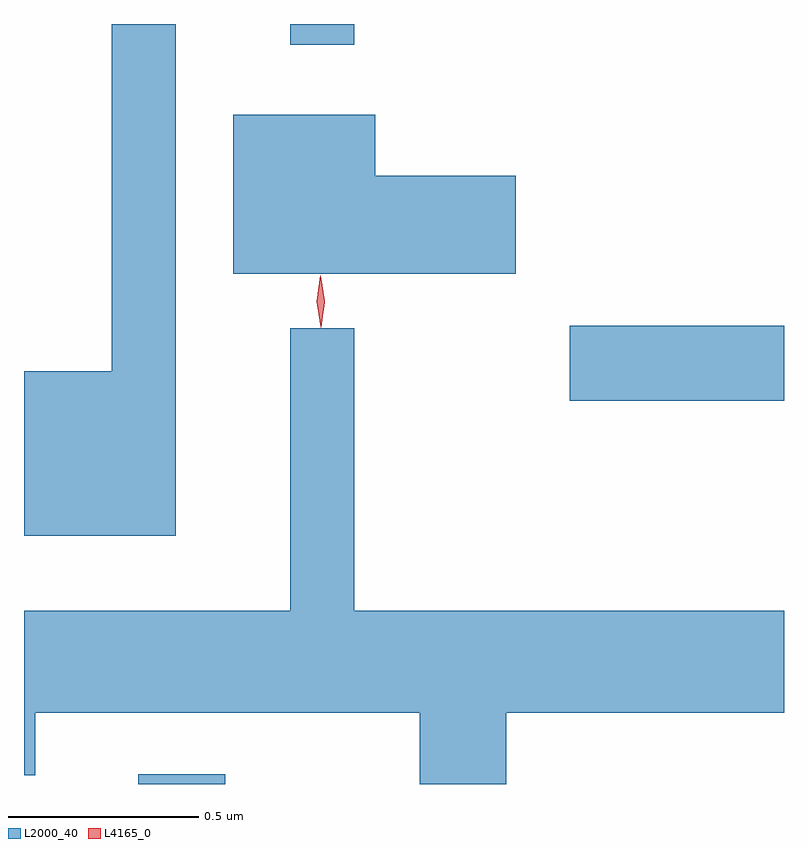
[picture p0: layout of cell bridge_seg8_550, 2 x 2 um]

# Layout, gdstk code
import gdstk
lib = gdstk.Library(unit=1e-6, precision=1e-09)
def R(c, l, rs):  # rectangles x0, y0, x1, y1
    for r in rs: c.add(gdstk.rectangle(r[:2], r[2:], *l))
def P(c, l, *ps):  # polygons
    for p in ps: c.add(gdstk.Polygon(p, *l))
L2000_40 = (2000, 40)
L4165_0 = (4165, 0)

bridge_seg8_550 = lib.new_cell('bridge_seg8_550')
R(bridge_seg8_550, L2000_40, [(563.041,1869.528,563.269,1869.554), (564.176,1870.536,564.74,1870.734), (563.441,1871.473,563.609,1871.528)])
P(bridge_seg8_550, L2000_40, [(563.139,1871.528),(562.971,1871.528),(562.971,1870.614),(562.74,1870.614),(562.74,1870.181),(563.139,1870.181)],
  [(564.034,1871.129),(563.664,1871.129),(563.664,1871.289),(563.291,1871.289),(563.291,1870.871),(564.034,1870.871)],
  [(564.009,1869.716),(564.74,1869.716),(564.74,1869.984),(563.609,1869.984),(563.609,1870.728),(563.441,1870.728),(563.441,1869.984),(562.74,1869.984),(562.74,1869.551),(562.769,1869.551),(562.769,1869.716),(563.781,1869.716),(563.781,1869.528),(564.009,1869.528)])
P(bridge_seg8_550, L4165_0, [(563.521,1870.733),(563.511,1870.796),(563.52,1870.859),(563.521,1870.86),(563.521,1870.859),(563.531,1870.796),(563.522,1870.733),(563.522,1870.733)],
  [(563.521,1870.73),(563.511,1870.798),(563.52,1870.866),(563.521,1870.866),(563.521,1870.866),(563.531,1870.798),(563.522,1870.73),(563.522,1870.73)])

lib.write_gds('bridge_seg8_550.gds')
